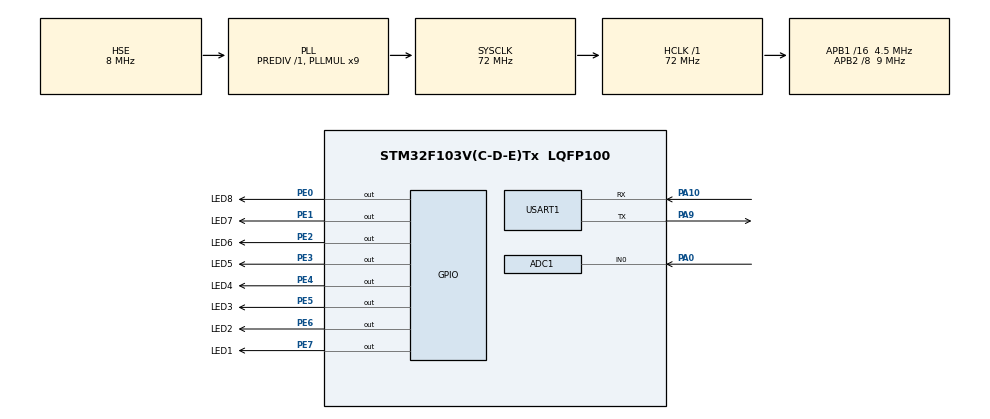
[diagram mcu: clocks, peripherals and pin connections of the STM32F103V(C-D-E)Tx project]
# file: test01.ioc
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ADC1.Channel-1\#ChannelRegularConversion=ADC_CHANNEL_0
ADC1.NbrOfConversionFlag=1
ADC1.Rank-1\#ChannelRegularConversion=1
ADC1.SamplingTime-1\#ChannelRegularConversion=ADC_SAMPLETIME_71CYCLES_5
ADC1.master=1
Mcu.Family=STM32F1
Mcu.Name=STM32F103V(C-D-E)Tx
Mcu.Package=LQFP100
NVIC.PriorityGroup=NVIC_PRIORITYGROUP_4
NVIC.TIM6_IRQn=true\:2\:0\:true\:false\:true\:true\:true
NVIC.USART1_IRQn=true\:0\:0\:false\:false\:true\:true\:true
OSC_IN.Mode=HSE-External-Oscillator
OSC_IN.Signal=RCC_OSC_IN
OSC_OUT.Mode=HSE-External-Oscillator
OSC_OUT.Signal=RCC_OSC_OUT
PA0-WKUP.Signal=ADCx_IN0
PA10.Mode=Asynchronous
PA10.Signal=USART1_RX
PA13.Mode=Serial_Wire
PA13.Signal=SYS_JTMS-SWDIO
PA14.Mode=Serial_Wire
PA14.Signal=SYS_JTCK-SWCLK
PA9.Mode=Asynchronous
PA9.Signal=USART1_TX
PC14-OSC32_IN.Mode=LSE-External-Oscillator
PC14-OSC32_IN.Signal=RCC_OSC32_IN
PC15-OSC32_OUT.Mode=LSE-External-Oscillator
PC15-OSC32_OUT.Signal=RCC_OSC32_OUT
PE0.GPIO_Label=LED8
PE0.GPIO_ModeDefaultOutputPP=GPIO_MODE_OUTPUT_PP
PE0.GPIO_PuPd=GPIO_NOPULL
PE0.GPIO_Speed=GPIO_SPEED_FREQ_HIGH
PE0.PinState=GPIO_PIN_SET
PE0.Signal=GPIO_Output
PE1.GPIO_Label=LED7
PE1.GPIO_ModeDefaultOutputPP=GPIO_MODE_OUTPUT_PP
PE1.GPIO_PuPd=GPIO_NOPULL
PE1.GPIO_Speed=GPIO_SPEED_FREQ_HIGH
PE1.PinState=GPIO_PIN_SET
PE1.Signal=GPIO_Output
PE2.GPIO_Label=LED6
PE2.GPIO_ModeDefaultOutputPP=GPIO_MODE_OUTPUT_PP
PE2.GPIO_PuPd=GPIO_NOPULL
PE2.GPIO_Speed=GPIO_SPEED_FREQ_HIGH
PE2.PinState=GPIO_PIN_SET
PE2.Signal=GPIO_Output
PE3.GPIO_Label=LED5
PE3.GPIO_ModeDefaultOutputPP=GPIO_MODE_OUTPUT_PP
PE3.GPIO_PuPd=GPIO_NOPULL
PE3.GPIO_Speed=GPIO_SPEED_FREQ_HIGH
PE3.PinState=GPIO_PIN_SET
PE3.Signal=GPIO_Output
PE4.GPIO_Label=LED4
PE4.GPIO_ModeDefaultOutputPP=GPIO_MODE_OUTPUT_PP
PE4.GPIO_PuPd=GPIO_NOPULL
PE4.GPIO_Speed=GPIO_SPEED_FREQ_HIGH
PE4.PinState=GPIO_PIN_SET
PE4.Signal=GPIO_Output
PE5.GPIO_Label=LED3
PE5.GPIO_ModeDefaultOutputPP=GPIO_MODE_OUTPUT_PP
PE5.GPIO_PuPd=GPIO_NOPULL
PE5.GPIO_Speed=GPIO_SPEED_FREQ_HIGH
PE5.PinState=GPIO_PIN_SET
PE5.Signal=GPIO_Output
PE6.GPIO_Label=LED2
PE6.GPIO_ModeDefaultOutputPP=GPIO_MODE_OUTPUT_PP
PE6.GPIO_PuPd=GPIO_NOPULL
PE6.GPIO_Speed=GPIO_SPEED_FREQ_HIGH
PE6.PinState=GPIO_PIN_SET
PE6.Signal=GPIO_Output
PE7.GPIO_Label=LED1
PE7.GPIO_ModeDefaultOutputPP=GPIO_MODE_OUTPUT_PP
PE7.GPIO_PuPd=GPIO_NOPULL
PE7.GPIO_Speed=GPIO_SPEED_FREQ_HIGH
PE7.PinState=GPIO_PIN_SET
PE7.Signal=GPIO_Output
ProjectManager.HeapSize=0x200
ProjectManager.StackSize=0x400
ProjectManager.TargetToolchain=MDK-ARM V5
RCC.ADCPresc=RCC_ADCPCLK2_DIV8
RCC.AHBFreq_Value=72000000
RCC.APB1CLKDivider=RCC_HCLK_DIV16
RCC.APB1Freq_Value=4500000
RCC.APB1TimFreq_Value=9000000
RCC.APB2CLKDivider=RCC_HCLK_DIV8
RCC.APB2Freq_Value=9000000
RCC.APB2TimFreq_Value=18000000
RCC.HCLKFreq_Value=72000000
RCC.PLLMUL=RCC_PLL_MUL9
RCC.PLLSourceVirtual=RCC_PLLSOURCE_HSE
RCC.SYSCLKFreq_VALUE=72000000
RCC.SYSCLKSource=RCC_SYSCLKSOURCE_PLLCLK
RCC.USBFreq_Value=72000000
SH.ADCx_IN0.0=ADC1_IN0,IN0
TIM6.Period=5000-1
TIM6.Prescaler=900-1
USART1.VirtualMode=VM_ASYNC
VP_TIM6_VS_ClockSourceINT.Mode=Enable_Timer
board=custom

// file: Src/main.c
/* USER CODE BEGIN Header */
/**
  ******************************************************************************
  * @file           : main.c
  * @brief          : Main program body
  ******************************************************************************
  * @attention
  *
  * <h2><center>&copy; Copyright (c) 2022 STMicroelectronics.
  * All rights reserved.</center></h2>
  *
  * This software component is licensed by ST under BSD 3-Clause license,
  * the "License"; You may not use this file except in compliance with the
  * License. You may obtain a copy of the License at:
  *                        opensource.org/licenses/BSD-3-Clause
  *
  ******************************************************************************
  */
/* USER CODE END Header */

#include "main.h"
#include "adc.h"
#include "tim.h"
#include "usart.h"
#include "gpio.h"

/* USER CODE BEGIN PV */
uint16_t num = 1;

//光照
uint16_t adc_value = 0;
float voltage = 0.0;
char voltString[50] = {0};
/* USER CODE END PV */

void SystemClock_Config(void);

int main(void)
{

  /* MCU Configuration--------------------------------------------------------*/

  /* Reset of all peripherals, Initializes the Flash interface and the Systick. */
  HAL_Init();

  /* Configure the system clock */
  SystemClock_Config();

  /* Initialize all configured peripherals */
  MX_GPIO_Init();
  MX_ADC1_Init();
  MX_TIM6_Init();
  MX_USART1_UART_Init();
  /* USER CODE BEGIN 2 */
if(HAL_TIM_Base_Start_IT(&htim6)!=HAL_OK){
Error_Handler();
};
printf("程序开始运行!\r\n");
  /* USER CODE END 2 */

  /* Infinite loop */
  while (1)
  {
		HAL_ADC_Start(&hadc1);
		HAL_ADC_PollForConversion(&hadc1,100);
		adc_value = HAL_ADC_GetValue(&hadc1);
		voltage = (float)adc_value/4096*3.3;
		sprintf(voltString,"采集到的光照数据为: %.2f V",voltage);
		printf("%s\r\n",voltString);
		HAL_Delay(2000);

  }
}

void SystemClock_Config(void)
{
  RCC_OscInitTypeDef RCC_OscInitStruct = {0};
  RCC_ClkInitTypeDef RCC_ClkInitStruct = {0};
  RCC_PeriphCLKInitTypeDef PeriphClkInit = {0};

  /** Initializes the CPU, AHB and APB busses clocks
  */
  RCC_OscInitStruct.OscillatorType = RCC_OSCILLATORTYPE_HSE;
  RCC_OscInitStruct.HSEState = RCC_HSE_ON;
  RCC_OscInitStruct.HSEPredivValue = RCC_HSE_PREDIV_DIV1;
  RCC_OscInitStruct.HSIState = RCC_HSI_ON;
  RCC_OscInitStruct.PLL.PLLState = RCC_PLL_ON;
  RCC_OscInitStruct.PLL.PLLSource = RCC_PLLSOURCE_HSE;
  RCC_OscInitStruct.PLL.PLLMUL = RCC_PLL_MUL9;
  if (HAL_RCC_OscConfig(&RCC_OscInitStruct) != HAL_OK)
  {
    Error_Handler();
  }
  /** Initializes the CPU, AHB and APB busses clocks
  */
  RCC_ClkInitStruct.ClockType = RCC_CLOCKTYPE_HCLK|RCC_CLOCKTYPE_SYSCLK
                              |RCC_CLOCKTYPE_PCLK1|RCC_CLOCKTYPE_PCLK2;
  RCC_ClkInitStruct.SYSCLKSource = RCC_SYSCLKSOURCE_PLLCLK;
  RCC_ClkInitStruct.AHBCLKDivider = RCC_SYSCLK_DIV1;
  RCC_ClkInitStruct.APB1CLKDivider = RCC_HCLK_DIV16;
  RCC_ClkInitStruct.APB2CLKDivider = RCC_HCLK_DIV8;

  if (HAL_RCC_ClockConfig(&RCC_ClkInitStruct, FLASH_LATENCY_2) != HAL_OK)
  {
    Error_Handler();
  }
  PeriphClkInit.PeriphClockSelection = RCC_PERIPHCLK_ADC;
  PeriphClkInit.AdcClockSelection = RCC_ADCPCLK2_DIV8;
  if (HAL_RCCEx_PeriphCLKConfig(&PeriphClkInit) != HAL_OK)
  {
    Error_Handler();
  }
}

/* USER CODE BEGIN 4 */
/*void USER_UART_IRQHandler(){
	if(__HAL_UART_GET_FLAG(&huart1,UART_FLAG_RXNE)!=RESET){

		//__HAL_UART_CLEAR_FEFLAG-ENABLE_IT
	}
}
*/
//中断TIM6
void HAL_TIM_PeriodElapsedCallback(TIM_HandleTypeDef *htim){
	if(TIM6==htim->Instance){
		if(num>0x100)
			num=1;
		if(num!=0x100){
			HAL_GPIO_WritePin(GPIOE,0xff,1);
			HAL_GPIO_WritePin(GPIOE,num,0);
		}else{
			HAL_GPIO_WritePin(GPIOE,0xff,1);
		}
		num<<=1;
	}
}

/* USER CODE END 4 */

void Error_Handler(void)
{
}

/************************ (C) COPYRIGHT STMicroelectronics *****END OF FILE****/
